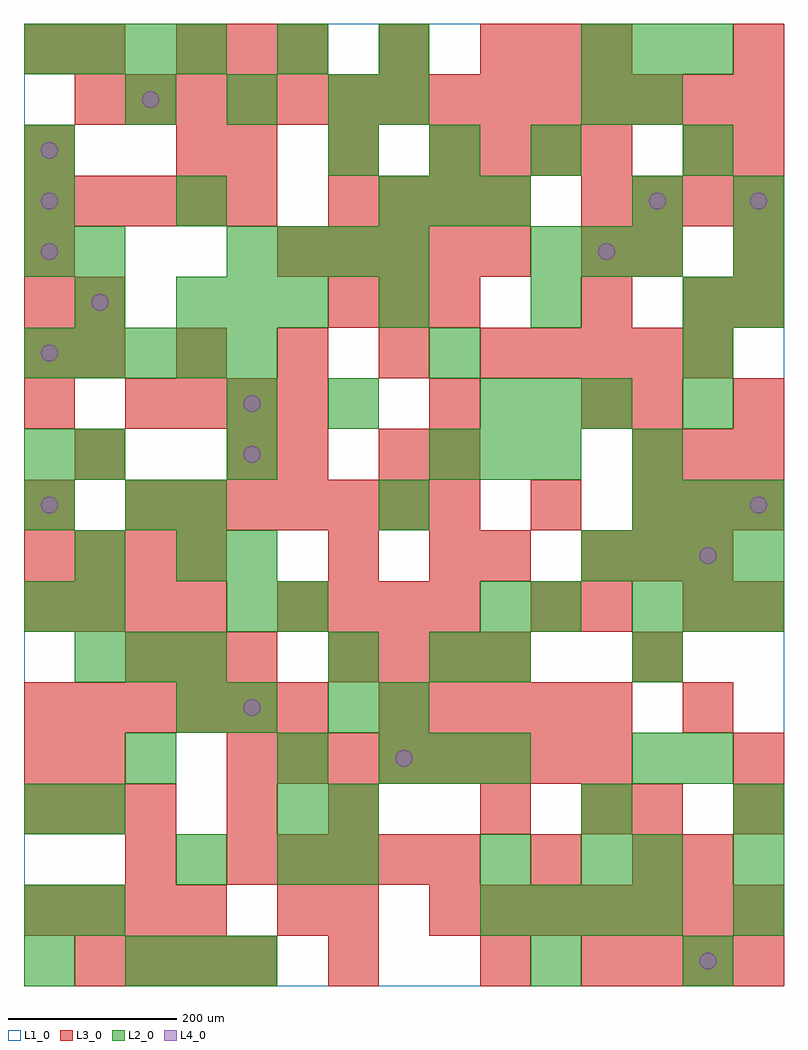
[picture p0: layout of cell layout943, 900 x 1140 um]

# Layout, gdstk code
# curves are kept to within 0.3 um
import gdstk
lib = gdstk.Library(unit=1e-6, precision=1e-09)
def R(c, l, rs):  # rectangles x0, y0, x1, y1
    for r in rs: c.add(gdstk.rectangle(r[:2], r[2:], *l))
def A(c, l, x, y, w, h, nx, ny, dx, dy):  # array of equal rectangles
    R(c, l, [(x+i*dx, y+j*dy, x+i*dx+w, y+j*dy+h) for i in range(nx) for j in range(ny)])
def P(c, l, *ps):  # polygons
    for p in ps: c.add(gdstk.Polygon(p, *l))
L1_0 = (1, 0)
L2_0 = (2, 0)
L3_0 = (3, 0)
L4_0 = (4, 0)

layout943 = lib.new_cell('layout943')
R(layout943, L1_0, [(0,0,900,1140)])
A(layout943, L2_0, 120, 0, 60, 60, 3, 1, 60, 0)
A(layout943, L2_0, 540, 60, 60, 60, 4, 1, 60, 0)
A(layout943, L2_0, 840, 60, 60, 60, 1, 3, 0, 60)
A(layout943, L2_0, 180, 120, 60, 60, 1, 3, 0, 180)
A(layout943, L2_0, 300, 120, 60, 60, 1, 3, 0, 60)
A(layout943, L2_0, 720, 120, 60, 60, 1, 3, 0, 120)
A(layout943, L2_0, 420, 240, 60, 60, 3, 2, 60, 660)
A(layout943, L2_0, 60, 360, 60, 60, 3, 1, 60, 0)
A(layout943, L2_0, 720, 420, 60, 60, 3, 2, 60, 120)
A(layout943, L2_0, 660, 480, 60, 60, 4, 1, 60, 0)
A(layout943, L2_0, 480, 600, 60, 60, 3, 1, 60, 0)
A(layout943, L2_0, 540, 660, 60, 60, 3, 1, 60, 0)
A(layout943, L2_0, 0, 720, 60, 60, 5, 1, 60, 0)
A(layout943, L2_0, 180, 780, 60, 60, 3, 1, 60, 0)
A(layout943, L2_0, 420, 780, 60, 60, 3, 1, 180, 0)
A(layout943, L2_0, 840, 780, 60, 60, 1, 3, 0, 60)
A(layout943, L2_0, 0, 840, 60, 60, 1, 3, 0, 60)
A(layout943, L2_0, 240, 840, 60, 60, 4, 1, 60, 0)
A(layout943, L2_0, 600, 840, 60, 60, 3, 1, 60, 0)
A(layout943, L2_0, 360, 960, 60, 60, 3, 1, 120, 0)
A(layout943, L2_0, 120, 1020, 60, 60, 3, 1, 120, 0)
A(layout943, L2_0, 0, 1080, 60, 60, 4, 1, 60, 0)
A(layout943, L2_0, 660, 1080, 60, 60, 3, 1, 60, 0)
R(layout943, L2_0, [(0,0,60,60), (600,0,660,60), (780,0,840,60), (0,60,60,120), (60,60,120,120), (360,120,420,180), (540,120,600,180), (660,120,720,180), (0,180,60,240), (60,180,120,240), (360,180,420,240), (660,180,720,240), (120,240,180,300), (780,240,840,300), (240,300,300,360), (360,300,420,360), (420,300,480,360), (360,360,420,420), (480,360,540,420), (540,360,600,420), (0,420,60,480), (60,420,120,480), (240,420,300,480), (300,420,360,480), (540,420,600,480), (600,420,660,480), (60,480,120,540), (240,480,300,540), (0,540,60,600), (120,540,180,600), (180,540,240,600), (420,540,480,600), (0,600,60,660), (60,600,120,660), (240,600,300,660), (720,600,780,660), (240,660,300,720), (360,660,420,720), (780,660,840,720), (480,720,540,780), (780,720,840,780), (60,780,120,840), (60,840,120,900), (180,900,240,960), (720,900,780,960), (780,960,840,1020), (420,1020,480,1080), (660,1020,720,1080), (720,1020,780,1080), (300,1080,360,1140), (420,1080,480,1140)])
A(layout943, L3_0, 60, 0, 60, 60, 4, 1, 60, 0)
A(layout943, L3_0, 660, 0, 60, 60, 4, 2, 60, 900)
A(layout943, L3_0, 0, 60, 60, 60, 4, 2, 60, 360)
A(layout943, L3_0, 480, 60, 60, 60, 7, 1, 60, 0)
A(layout943, L3_0, 240, 120, 60, 60, 5, 1, 60, 0)
A(layout943, L3_0, 0, 180, 60, 60, 3, 1, 60, 0)
A(layout943, L3_0, 660, 180, 60, 60, 1, 3, 0, 240)
A(layout943, L3_0, 240, 240, 60, 60, 8, 1, 60, 0)
A(layout943, L3_0, 0, 300, 60, 60, 6, 1, 60, 0)
A(layout943, L3_0, 420, 300, 60, 60, 5, 1, 60, 0)
A(layout943, L3_0, 120, 360, 60, 60, 3, 1, 60, 0)
A(layout943, L3_0, 360, 360, 60, 60, 4, 2, 60, 540)
A(layout943, L3_0, 300, 420, 60, 60, 4, 1, 60, 0)
A(layout943, L3_0, 0, 480, 60, 60, 4, 1, 60, 0)
A(layout943, L3_0, 660, 480, 60, 60, 3, 1, 60, 0)
A(layout943, L3_0, 120, 540, 60, 60, 7, 1, 60, 0)
A(layout943, L3_0, 720, 540, 60, 60, 3, 2, 60, 60)
A(layout943, L3_0, 0, 660, 60, 60, 1, 4, 0, 60)
A(layout943, L3_0, 120, 660, 60, 60, 4, 1, 60, 0)
A(layout943, L3_0, 60, 720, 60, 60, 5, 1, 120, 0)
A(layout943, L3_0, 600, 720, 60, 60, 4, 1, 60, 0)
A(layout943, L3_0, 360, 780, 60, 60, 3, 1, 60, 0)
A(layout943, L3_0, 300, 840, 60, 60, 5, 1, 60, 0)
A(layout943, L3_0, 840, 840, 60, 60, 1, 3, 0, 120)
A(layout943, L3_0, 0, 900, 60, 60, 5, 1, 60, 0)
A(layout943, L3_0, 240, 960, 60, 60, 3, 1, 120, 0)
A(layout943, L3_0, 540, 960, 60, 60, 3, 2, 60, 120)
A(layout943, L3_0, 60, 1020, 60, 60, 14, 1, 60, 0)
A(layout943, L3_0, 180, 1080, 60, 60, 3, 1, 60, 0)
R(layout943, L3_0, [(360,0,420,60), (540,0,600,60), (300,60,360,120), (360,60,420,120), (120,120,180,180), (600,120,660,180), (720,120,780,180), (780,120,840,180), (240,180,300,240), (360,180,420,240), (540,180,600,240), (720,180,780,240), (840,180,900,240), (0,240,60,300), (60,240,120,300), (840,240,900,300), (780,300,840,360), (720,360,780,420), (600,420,660,480), (780,420,840,480), (840,420,900,480), (360,480,420,540), (480,480,540,540), (540,480,600,540), (0,540,60,600), (600,540,660,600), (60,600,120,660), (240,600,300,660), (300,600,360,660), (420,600,480,660), (480,600,540,660), (480,660,540,720), (720,660,780,720), (840,660,900,720), (60,780,120,840), (660,780,720,840), (780,780,840,840), (840,780,900,840), (660,840,720,900), (720,840,780,900), (0,960,60,1020), (180,960,240,1020), (780,960,840,1020), (0,1080,60,1140), (60,1080,120,1140), (420,1080,480,1140)])
P(layout943, L4_0, [(40,570),(39.239,573.827),(37.071,577.071),(33.827,579.239),(30,580),(26.173,579.239),(22.929,577.071),(20.761,573.827),(20,570),(20.761,566.173),(22.929,562.929),(26.173,560.761),(30,560),(33.827,560.761),(37.071,562.929),(39.239,566.173)],
  [(40,750),(39.239,753.827),(37.071,757.071),(33.827,759.239),(30,760),(26.173,759.239),(22.929,757.071),(20.761,753.827),(20,750),(20.761,746.173),(22.929,742.929),(26.173,740.761),(30,740),(33.827,740.761),(37.071,742.929),(39.239,746.173)],
  [(40,870),(39.239,873.827),(37.071,877.071),(33.827,879.239),(30,880),(26.173,879.239),(22.929,877.071),(20.761,873.827),(20,870),(20.761,866.173),(22.929,862.929),(26.173,860.761),(30,860),(33.827,860.761),(37.071,862.929),(39.239,866.173)],
  [(40,930),(39.239,933.827),(37.071,937.071),(33.827,939.239),(30,940),(26.173,939.239),(22.929,937.071),(20.761,933.827),(20,930),(20.761,926.173),(22.929,922.929),(26.173,920.761),(30,920),(33.827,920.761),(37.071,922.929),(39.239,926.173)],
  [(40,990),(39.239,993.827),(37.071,997.071),(33.827,999.239),(30,1000),(26.173,999.239),(22.929,997.071),(20.761,993.827),(20,990),(20.761,986.173),(22.929,982.929),(26.173,980.761),(30,980),(33.827,980.761),(37.071,982.929),(39.239,986.173)],
  [(100,810),(99.239,813.827),(97.071,817.071),(93.827,819.239),(90,820),(86.173,819.239),(82.929,817.071),(80.761,813.827),(80,810),(80.761,806.173),(82.929,802.929),(86.173,800.761),(90,800),(93.827,800.761),(97.071,802.929),(99.239,806.173)],
  [(160,1050),(159.239,1053.827),(157.071,1057.071),(153.827,1059.239),(150,1060),(146.173,1059.239),(142.929,1057.071),(140.761,1053.827),(140,1050),(140.761,1046.173),(142.929,1042.929),(146.173,1040.761),(150,1040),(153.827,1040.761),(157.071,1042.929),(159.239,1046.173)],
  [(280,330),(279.239,333.827),(277.071,337.071),(273.827,339.239),(270,340),(266.173,339.239),(262.929,337.071),(260.761,333.827),(260,330),(260.761,326.173),(262.929,322.929),(266.173,320.761),(270,320),(273.827,320.761),(277.071,322.929),(279.239,326.173)],
  [(280,630),(279.239,633.827),(277.071,637.071),(273.827,639.239),(270,640),(266.173,639.239),(262.929,637.071),(260.761,633.827),(260,630),(260.761,626.173),(262.929,622.929),(266.173,620.761),(270,620),(273.827,620.761),(277.071,622.929),(279.239,626.173)],
  [(280,690),(279.239,693.827),(277.071,697.071),(273.827,699.239),(270,700),(266.173,699.239),(262.929,697.071),(260.761,693.827),(260,690),(260.761,686.173),(262.929,682.929),(266.173,680.761),(270,680),(273.827,680.761),(277.071,682.929),(279.239,686.173)],
  [(460,270),(459.239,273.827),(457.071,277.071),(453.827,279.239),(450,280),(446.173,279.239),(442.929,277.071),(440.761,273.827),(440,270),(440.761,266.173),(442.929,262.929),(446.173,260.761),(450,260),(453.827,260.761),(457.071,262.929),(459.239,266.173)],
  [(700,870),(699.239,873.827),(697.071,877.071),(693.827,879.239),(690,880),(686.173,879.239),(682.929,877.071),(680.761,873.827),(680,870),(680.761,866.173),(682.929,862.929),(686.173,860.761),(690,860),(693.827,860.761),(697.071,862.929),(699.239,866.173)],
  [(760,930),(759.239,933.827),(757.071,937.071),(753.827,939.239),(750,940),(746.173,939.239),(742.929,937.071),(740.761,933.827),(740,930),(740.761,926.173),(742.929,922.929),(746.173,920.761),(750,920),(753.827,920.761),(757.071,922.929),(759.239,926.173)],
  [(820,30),(819.239,33.827),(817.071,37.071),(813.827,39.239),(810,40),(806.173,39.239),(802.929,37.071),(800.761,33.827),(800,30),(800.761,26.173),(802.929,22.929),(806.173,20.761),(810,20),(813.827,20.761),(817.071,22.929),(819.239,26.173)],
  [(820,510),(819.239,513.827),(817.071,517.071),(813.827,519.239),(810,520),(806.173,519.239),(802.929,517.071),(800.761,513.827),(800,510),(800.761,506.173),(802.929,502.929),(806.173,500.761),(810,500),(813.827,500.761),(817.071,502.929),(819.239,506.173)],
  [(880,570),(879.239,573.827),(877.071,577.071),(873.827,579.239),(870,580),(866.173,579.239),(862.929,577.071),(860.761,573.827),(860,570),(860.761,566.173),(862.929,562.929),(866.173,560.761),(870,560),(873.827,560.761),(877.071,562.929),(879.239,566.173)],
  [(880,930),(879.239,933.827),(877.071,937.071),(873.827,939.239),(870,940),(866.173,939.239),(862.929,937.071),(860.761,933.827),(860,930),(860.761,926.173),(862.929,922.929),(866.173,920.761),(870,920),(873.827,920.761),(877.071,922.929),(879.239,926.173)])

lib.write_gds('layout943.gds')
